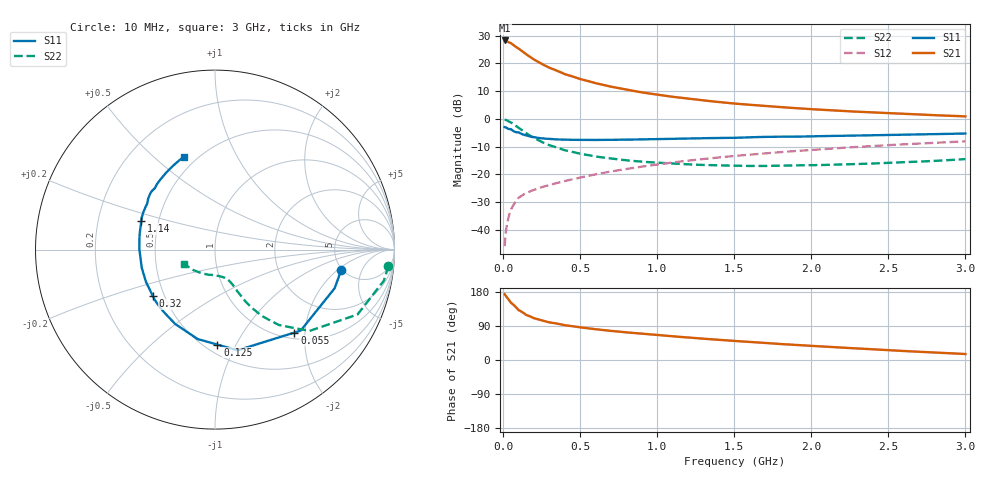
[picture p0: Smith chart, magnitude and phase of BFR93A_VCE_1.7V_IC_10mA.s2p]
! Infineon Technologies  Discrete & RF Semiconductors
! BFR93A
! VCE =  1.7 V,  IC =  10 mA
! Common Emitter S-Parameters:  Nov 2015
# GHz  S  MA  R  50
!  f  S11  S21  S12  S22
! GHz  MAG  ANG  MAG  ANG  MAG  ANG  MAG  ANG
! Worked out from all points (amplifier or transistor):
!   180 points, 10 MHz to 3 GHz, reference 50 ohm
!   highest |S21| = 28.3 dB at 10 MHz (marker M1)
!   |S21| within 3 dB of that: start of sweep to 102.4 MHz
!   unconditionally stable (mu >= 1): 549.5 MHz to end of sweep
!   at 160 MHz: K = 0.52, MSG = 24.7 dB, |S12| = -26.4 dB
!   at 1.22 GHz: K = 1.11, MAG = 9.1 dB, |S12| = -14.9 dB
!   at 3 GHz: K = 1.01, MAG = 3.9 dB, |S12| = -8.1 dB
!   S11 on the Smith chart (normalised r, x): 10 MHz: 4.88, -2.26; 55 MHz: 1.12, -1.76; 125 MHz: 0.57, -0.85; 320 MHz: 0.43, -0.28; 1.14 GHz: 0.40, +0.16; 3 GHz: 0.43, +0.63
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0.01  0.7126 -9.2  25.96 173.7  0.0051 86.0  0.9705 -5.4
0.02  0.7006 -17.9  25.56 167.7  0.0102 80.5  0.9569 -10.4
0.025  0.6843 -21.9  25.06 165.2  0.0123 77.5  0.9391 -12.6
0.05  0.657 -43.4  23.33 151.6  0.0231 70.8  0.8724 -24.5
0.055  0.6398 -46.3  22.76 150.0  0.0245 69.1  0.8521 -25.8
0.1  0.5749 -77.4  18.59 131.9  0.0379 59.5  0.6951 -40.7
0.125  0.5298 -88.5  16.48 126.2  0.0421 56.8  0.6212 -44.7
0.15  0.5075 -101.0  14.59 118.9  0.0463 54.5  0.5511 -49.7
0.2  0.4702 -118.1  11.8 110.4  0.0529 53.2  0.4536 -54.7
0.26  0.4453 -132.9  9.523 103.2  0.06 53.4  0.3754 -58.0
0.3  0.4376 -140.2  8.381 99.3  0.0644 54.0  0.337 -59.5
0.32  0.4326 -143.1  7.983 98.1  0.0667 54.5  0.3242 -59.8
0.4  0.4244 -155.2  6.436 91.8  0.0759 56.0  0.2733 -61.5
0.52  0.4194 -167.7  5.075 85.2  0.0903 58.0  0.2311 -62.7
0.7  0.4215 179.5  3.814 76.8  0.113 59.4  0.1932 -65.3
0.9  0.4285 168.6  3.011 69.4  0.1381 59.7  0.1696 -69.7
1.02  0.4331 163.2  2.689 65.2  0.1539 59.2  0.1618 -72.8
1.14  0.441 158.6  2.434 61.3  0.1694 58.6  0.1548 -76.9
1.52  0.4586 145.2  1.875 49.8  0.2176 55.8  0.1434 -91.4
2.02  0.4879 131.3  1.489 36.9  0.2796 50.8  0.147 -112.5
2.52  0.5152 119.1  1.261 25.6  0.3399 44.7  0.1623 -133.5
3  0.5463 108.3  1.113 15.8  0.3946 38.3  0.1892 -154.7
